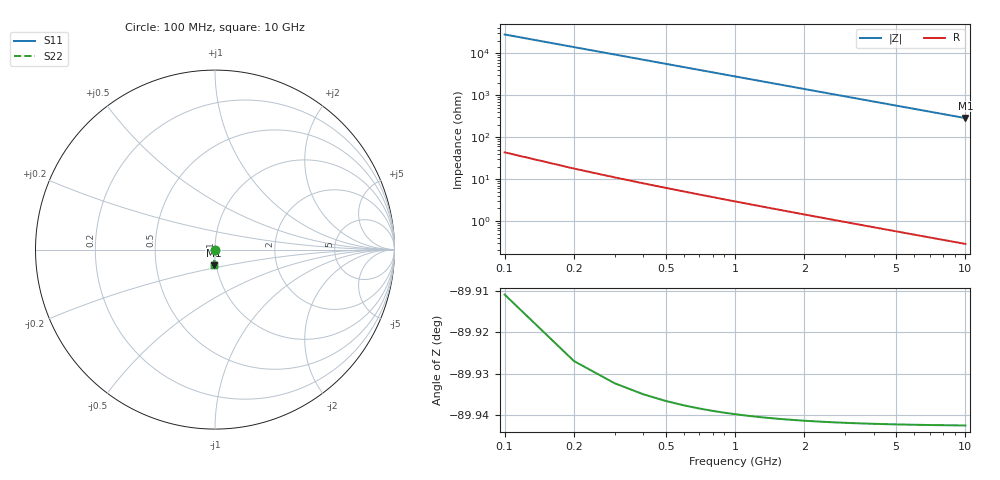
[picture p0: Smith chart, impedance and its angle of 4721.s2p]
# Hz S RI R 50.00
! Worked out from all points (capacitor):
!   100 points, 100 MHz to 10 GHz, reference 50 ohm
!   read as one part in shunt: C = 56.8 fF near 100 MHz
!   lowest |Z| = 285 ohm at 10 GHz (marker M1)
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1e8  -2e-06 -0.000891  1 -0.000894  1 -0.000894  -2e-06 -0.000891
2e8  -5.27e-06 -0.00178  1 -0.00179  1 -0.00179  -5.27e-06 -0.00178
3e8  -1.01e-05 -0.00267  1 -0.00268  1 -0.00268  -1.01e-05 -0.00267
4e8  -1.66e-05 -0.00356  1 -0.00357  1 -0.00357  -1.66e-05 -0.00356
5e8  -2.46e-05 -0.00445  1 -0.00447  1 -0.00447  -2.46e-05 -0.00445
6e8  -3.43e-05 -0.00534  1 -0.00536  1 -0.00536  -3.43e-05 -0.00534
7e8  -4.55e-05 -0.00623  1 -0.00625  1 -0.00625  -4.55e-05 -0.00623
8e8  -5.82e-05 -0.00712  0.9999 -0.00714  0.9999 -0.00714  -5.82e-05 -0.00712
9e8  -7.26e-05 -0.00801  0.9999 -0.00803  0.9999 -0.00803  -7.26e-05 -0.00801
1.1e9  -0.000106 -0.00978  0.9999 -0.00981  0.9999 -0.00981  -0.000106 -0.00978
1.4e9  -0.000168 -0.0124  0.9998 -0.0125  0.9998 -0.0125  -0.000168 -0.0124
1.8e9  -0.000272 -0.016  0.9997 -0.016  0.9997 -0.016  -0.000272 -0.016
2.1e9  -0.000367 -0.0186  0.9996 -0.0187  0.9996 -0.0187  -0.000367 -0.0186
2.5e9  -0.000514 -0.0221  0.9995 -0.0222  0.9995 -0.0222  -0.000514 -0.0221
2.9e9  -0.000687 -0.0257  0.9993 -0.0257  0.9993 -0.0257  -0.000687 -0.0257
3.4e9  -0.000936 -0.03  0.9991 -0.0301  0.9991 -0.0301  -0.000936 -0.03
4.2e9  -0.00141 -0.037  0.9986 -0.0371  0.9986 -0.0371  -0.00141 -0.037
5.1e9  -0.00207 -0.0449  0.9979 -0.045  0.9979 -0.045  -0.00207 -0.0449
5.9e9  -0.00275 -0.0518  0.9973 -0.0519  0.9973 -0.0519  -0.00275 -0.0518
6.7e9  -0.00353 -0.0587  0.9965 -0.0589  0.9965 -0.0589  -0.00353 -0.0587
8.4e9  -0.00549 -0.0733  0.9945 -0.0735  0.9945 -0.0735  -0.00549 -0.0733
1e10  -0.00772 -0.0869  0.9923 -0.0872  0.9923 -0.0872  -0.00772 -0.0869
